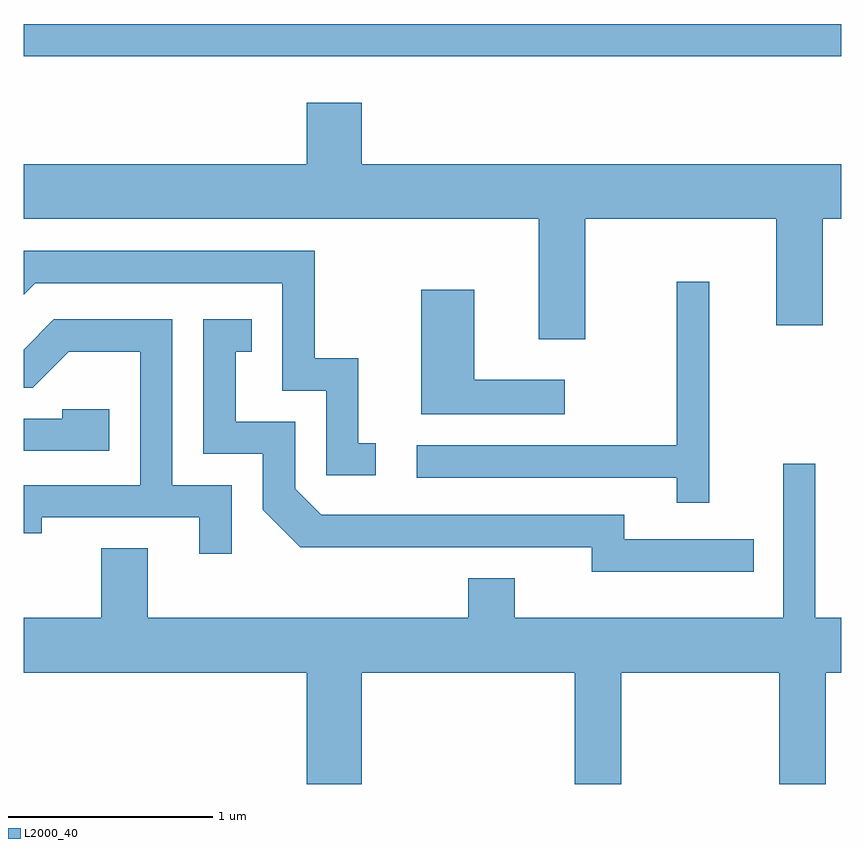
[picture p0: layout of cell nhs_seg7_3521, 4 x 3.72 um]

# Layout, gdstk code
import gdstk
lib = gdstk.Library(unit=1e-6, precision=1e-09)
def R(c, l, rs):  # rectangles x0, y0, x1, y1
    for r in rs: c.add(gdstk.rectangle(r[:2], r[2:], *l))
def P(c, l, *ps):  # polygons
    for p in ps: c.add(gdstk.Polygon(p, *l))
L2000_40 = (2000, 40)

nhs_seg7_3521 = lib.new_cell('nhs_seg7_3521')
R(nhs_seg7_3521, L2000_40, [(293.611,1681.811,297.611,1681.969)])
P(nhs_seg7_3521, L2000_40, [(296.359,1681.016),(297.291,1681.016),(297.291,1680.496),(297.519,1680.496),(297.519,1681.016),(297.611,1681.016),(297.611,1681.284),(295.264,1681.284),(295.264,1681.584),(294.996,1681.584),(294.996,1681.284),(293.611,1681.284),(293.611,1681.016),(296.131,1681.016),(296.131,1680.426),(296.359,1680.426)],
  [(295.333,1679.919),(295.249,1679.919),(295.249,1680.334),(295.034,1680.334),(295.034,1680.859),(293.611,1680.859),(293.611,1680.645),(293.667,1680.701),(294.876,1680.701),(294.876,1680.176),(295.091,1680.176),(295.091,1679.761),(295.333,1679.761)],
  [(296.964,1680.708),(296.806,1680.708),(296.806,1679.909),(295.533,1679.909),(295.533,1679.751),(296.806,1679.751),(296.806,1679.628),(296.964,1679.628)],
  [(296.258,1680.229),(295.814,1680.229),(295.814,1680.669),(295.556,1680.669),(295.556,1680.061),(296.258,1680.061)],
  [(297.183,1679.449),(296.549,1679.449),(296.549,1679.569),(295.067,1679.569),(294.939,1679.697),(294.939,1680.024),(294.649,1680.024),(294.649,1680.366),(294.728,1680.366),(294.728,1680.524),(294.491,1680.524),(294.491,1679.866),(294.781,1679.866),(294.781,1679.594),(294.964,1679.411),(296.391,1679.411),(296.391,1679.291),(297.183,1679.291)],
  [(294.629,1679.714),(294.339,1679.714),(294.339,1680.524),(293.759,1680.524),(293.611,1680.376),(293.611,1680.191),(293.657,1680.191),(293.832,1680.366),(294.181,1680.366),(294.181,1679.714),(293.611,1679.714),(293.611,1679.478),(293.699,1679.478),(293.699,1679.556),(294.471,1679.556),(294.471,1679.378),(294.629,1679.378)],
  [(294.029,1680.084),(293.801,1680.084),(293.801,1680.039),(293.611,1680.039),(293.611,1679.881),(294.029,1679.881)],
  [(293.991,1679.404),(293.991,1679.064),(293.611,1679.064),(293.611,1678.796),(294.996,1678.796),(294.996,1678.252),(295.264,1678.252),(295.264,1678.796),(296.306,1678.796),(296.306,1678.252),(296.534,1678.252),(296.534,1678.796),(297.306,1678.796),(297.306,1678.252),(297.534,1678.252),(297.534,1678.796),(297.611,1678.796),(297.611,1679.064),(297.484,1679.064),(297.484,1679.818),(297.326,1679.818),(297.326,1679.064),(296.014,1679.064),(296.014,1679.259),(295.786,1679.259),(295.786,1679.064),(294.219,1679.064),(294.219,1679.404)])

lib.write_gds('nhs_seg7_3521.gds')
